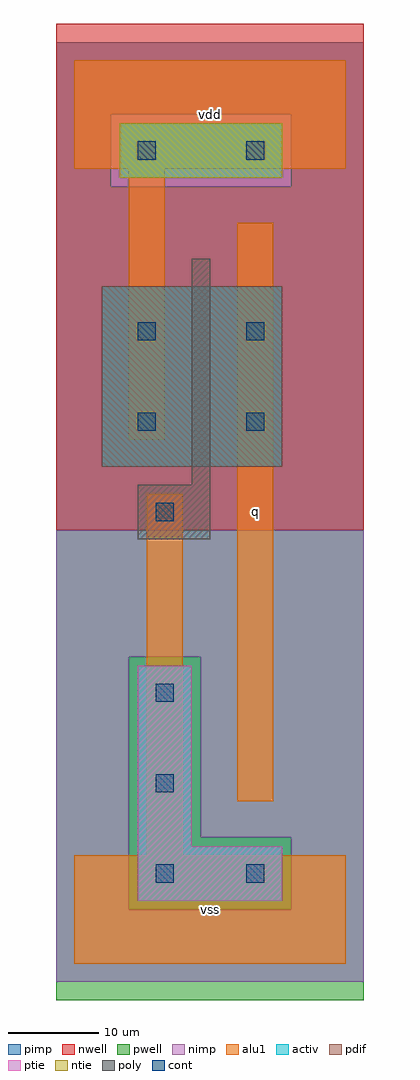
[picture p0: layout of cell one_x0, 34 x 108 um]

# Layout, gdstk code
import gdstk
lib = gdstk.Library(unit=1e-6, precision=1e-09)
def R(c, l, rs):  # rectangles x0, y0, x1, y1
    for r in rs: c.add(gdstk.rectangle(r[:2], r[2:], *l))
def A(c, l, x, y, w, h, nx, ny, dx, dy):  # array of equal rectangles
    R(c, l, [(x+i*dx, y+j*dy, x+i*dx+w, y+j*dy+h) for i in range(nx) for j in range(ny)])
pdif = (4, 0)
ntie = (5, 0)
ptie = (6, 0)
cont = (25, 0)
pwell = (41, 0)
nwell = (42, 0)
activ = (43, 0)
pimp = (44, 0)
nimp = (45, 0)
poly = (46, 0)
alu1 = (49, 0)

one_x0 = lib.new_cell('one_x0')
R(one_x0, pdif, [(3,55,23,75)])
R(one_x0, ntie, [(5,87,23,93)])
R(one_x0, ptie, [(7,7,23,13), (7,13,13,33)])
A(one_x0, cont, 9, 9, 2, 2, 1, 3, 0, 10)
R(one_x0, cont, [(19,9,21,11), (9,49,11,51), (7,59,9,61), (19,59,21,61), (7,69,9,71), (19,69,21,71), (7,89,9,91), (19,89,21,91)])
R(one_x0, pwell, [(-2,-4,32,48)])
R(one_x0, nwell, [(-2,48,32,104)])
R(one_x0, activ, [(7,7,23,13), (7,13,13,33), (3,55,23,75), (5,87,23,93)])
R(one_x0, pimp, [(6,6,24,14), (6,14,14,34), (-2,48,32,86), (-2,86,4,94), (24,86,32,94), (-2,94,32,102)])
R(one_x0, nimp, [(-2,-2,32,6), (-2,6,6,34), (24,6,32,14), (14,14,32,34), (-2,34,32,48), (4,86,24,94)])
R(one_x0, poly, [(7,47,15,53), (13,53,15,78)])
R(one_x0, alu1, [(0,0,30,12), (8,12,12,52), (18,18,22,82), (6,58,10,88), (0,88,30,100)])
one_x0.add(gdstk.Label('vss', (15,6), layer=49, texttype=0))
one_x0.add(gdstk.Label('q', (20,50), layer=49, texttype=0))
one_x0.add(gdstk.Label('vdd', (15,94), layer=49, texttype=0))

lib.write_gds('one_x0.gds')
